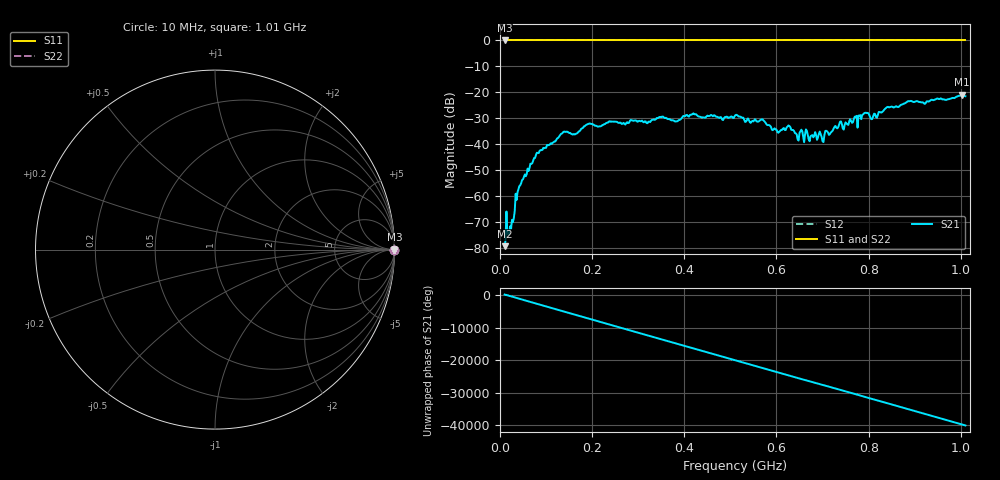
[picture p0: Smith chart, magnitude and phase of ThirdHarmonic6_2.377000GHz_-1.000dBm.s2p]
! 8/17/2025 3:45:47 AM
! C:\ANRITSUVNA\TEMP\TEMP.S2P
! CHANNEL.1
! TR.MEASUREMENT
! RAW.DATA
! RF.CORRECTION.OFF
! AVERAGING.OFF
! IF.BANDWIDTH: 5KHZ
! SWEEPTYPE:  FREQ.SWEEP(Linear)
! Reference Plane Port Info
! PORT:  PORT1  PORT2
! DISTANCE:  0  m  0  m
! TIME:  0  s  0  s
! PHASE.OFFSET:  0  deg.  0  deg.
! LOSS:  0  dB  0  dB
! REF.LOSS:  0  dB  0  dB
! REF.FREQ:  0  Hz  0  Hz
! Power Info
! POWER:  -20  dBm  -20  dBm
! EFF.POWER:  -20  dBm  -20  dBm
! SOURCE.ATTEN:  0  dB  0  dB
! TEST.ATTEN:  0  dB  0  dB
# GHZ S RI R 50.0
! FREQ.GHZ  S11RE  S11IM  S21RE  S21IM  S12RE  S12IM  S22RE  S22IM
!; PortSelection: Port_12
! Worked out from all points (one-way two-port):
!   501 points, 10 MHz to 1.01 GHz, reference 50 ohm
!   highest |S21| = -20.95 dB at 1.002 GHz (marker M1); lowest = -79.4 dB at 10 MHz (marker M2)
!   lowest |S11| = 0.0 dB at 10 MHz (marker M3)
!   |S11| at or under -10 dB: nowhere
!   |S22| runs from 0.0 to 0.0 dB; largest |S21 - S12| = 1.1
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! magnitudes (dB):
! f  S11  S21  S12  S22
! 10 MHz  0.0  -79.4  0.0  0.0
! 24 MHz  0.0  -72.7  0.0  0.0
! 38 MHz  0.0  -58.6  0.0  0.0
! 44 MHz  0.0  -55.9  0.0  0.0
! 78 MHz  0.0  -44.2  0.0  0.0
! 136 MHz  0.0  -35.7  0.0  0.0
! 162 MHz  0.0  -36.3  0.0  0.0
! 178 MHz  0.0  -33.9  0.0  0.0
! 344 MHz  0.0  -29.8  0.0  0.0
! 510 MHz  0.0  -29.0  0.0  0.0
! 570 MHz  0.0  -30.5  0.0  0.0
! 604 MHz  0.0  -35.6  0.0  0.0
! 626 MHz  0.0  -32.8  0.0  0.0
! 644 MHz  0.0  -36.3  0.0  0.0
! 678 MHz  0.0  -36.5  0.0  0.0
! 700 MHz  0.0  -38.9  0.0  0.0
! 738 MHz  0.0  -31.4  0.0  0.0
! 794 MHz  0.0  -27.9  0.0  0.0
! 806 MHz  0.0  -30.4  0.0  0.0
! 844 MHz  0.0  -25.8  0.0  0.0
! 1.002 GHz  0.0  -20.9  0.0  0.0
! 1.01 GHz  0.0  -21.5  0.0  0.0
